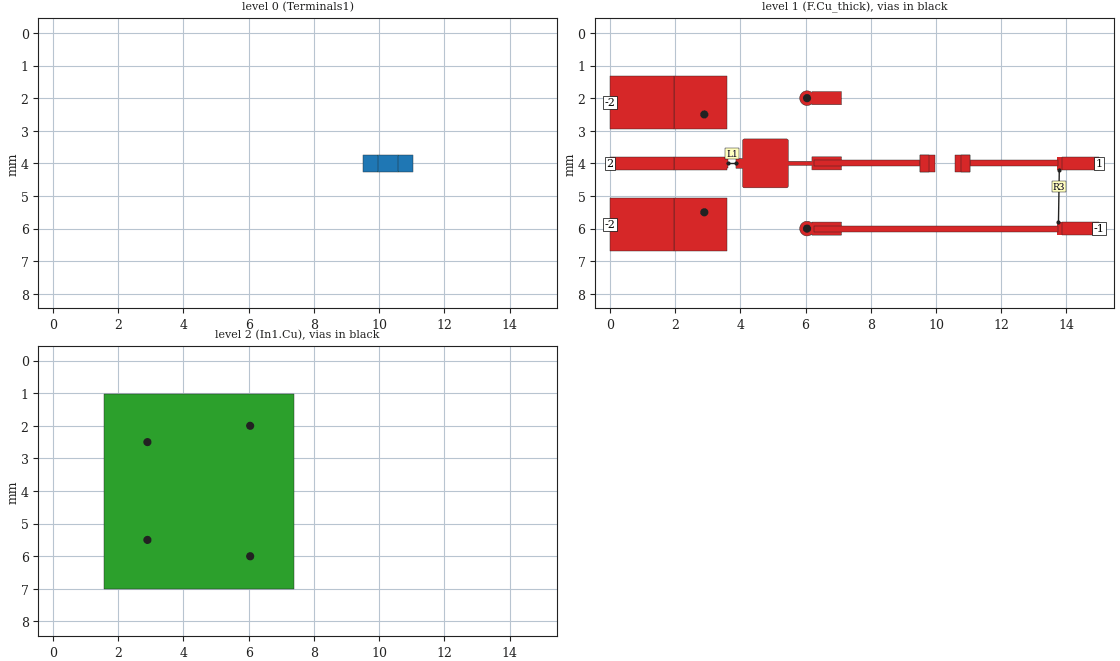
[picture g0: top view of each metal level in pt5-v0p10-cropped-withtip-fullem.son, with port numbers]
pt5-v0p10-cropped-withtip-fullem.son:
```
FTYP SONPROJ 19 ! Sonnet Project File
VER 18.56
HEADER
LIC antikernel2.1.51813
DAT 10/26/2022 15:32:51
BUILT_BY_CREATED xgeom 18.54 09/23/2022 20:17:08
BUILT_BY_SAVED sonnet 18.56
MDATE 10/26/2022 15:32:51
HDATE 10/26/2022 15:32:51
ANN Created by dxfgeo, Sonnet Software Inc.
END HEADER
DIM
ANG DEG
CAP FF
CON /OH
FREQ GHZ
IND PH
LNG MM
RES OH
END DIM
CONTROL
VARSWP
OPTIONS  -dj
SPEED 1
CACHE_ABS 2
Q_ACC N
END CONTROL
GEO
DRP1 LEFT LINK
POLY 407 1
0
DRP1 RIGHT LINK
POLY 450 1
0
TMET "Free Space" 0 FREESPACE 376.7303136 0 0 0
BMET "Free Space" 0 FREESPACE 376.7303136 0 0 0
MET "Copper_1oz+plated_thick_up" 1 TMM 58000000 0.5 0.0432 2
MET "Copper_1oz+plated_thin" 4 NOR 58000000 0.5 0.0432 
MET "Copper_0.5oz_thin" 2 NOR 58000000 0.5 0.0175 
MET "Copper_1oz+plated_thick_down" 3 TMM 58000000 0.5 0.0432 2 CDVY TDWN
MET "Nickel" 1 TVM 7.5e-06 0.175  RSVY
MET "Nickel 0.175mm" 5 TMM 6.99e-08 0.5 0.175 4 RSVY
MET "Tin" 2 TVM 8700000 0.5 
MET "Copper" 4 TMM 58000000 0.5 0.035 2 CDVY TDWN
MET "Solder" 37 TMM 8700000 0.5 0.5 4
MET "Resistor 265" 3 RES 265  0.05
MET "Resistor 375" 6 RES 375  0.035
MET "Copper 35um" 1 VOL 58000000 0.035
BRI "Alumina 99.5" 1 9.8 0.0001 0 
BOX 5 15 8 1200 640 20 0
      10 1 1 0 0 0 0 "Air"
      0.5 1 1 0 0 0 5 "Air"
      0.2021 3.61 1 0.0092 0 0 0 "Isola_FR408HR"
      1.1938 3.61 1 0.0092 0 0 0 "Isola_FR408HR"
      0.2021 3.61 1 0.0092 0 0 0 "Isola_FR408HR"
      10 1 1 0 0 0 0 "Air"
TECHLAY METAL Terminals1 <UNSPECIFIED> -12 0 
0 0 0 N 341 1 1 100 100 0 0 0 Y
END
END
TECHLAY METAL Resistor <UNSPECIFIED> -13 0 
0 0 10 N 345 1 1 100 100 0 0 0 Y
END
END
TECHLAY VIA Via1 L3D0 -7 -65534 CAD Via1 drawing 
VIA POLYGON
1 0 11 N 432 1 1 100 100 0 0 0 Y
TOLEVEL 4 RING NOCOVERS
END
END
TECHLAY METAL F.Cu_thick L1D0 -1 -65534 CAD F.Cu drawing 
1 0 0 N 244 1 1 100 100 0 0 0 Y
END
END
TECHLAY METAL F.Cu_thin <UNSPECIFIED> -2 -65534 CAD F.Cu_thin drawing 
1 0 1 N 254 1 1 100 100 0 0 0 Y
END
END
TECHLAY METAL NickelLeadwire <UNSPECIFIED> -8 0 
1 0 5 N 284 1 1 100 100 0 0 0 Y
END
END
TECHLAY METAL Terminals2 <UNSPECIFIED> -9 0 
1 0 3 N 315 1 1 100 100 0 0 0 Y
END
END
TECHLAY BRICK ResistorBody <UNSPECIFIED> -10 0 
BRI POLY
1 0 1 N 440 1 1 100 100 0 0 0 Y
END
END
TECHLAY METAL Solder <UNSPECIFIED> -11 0 
1 0 8 N 336 1 1 100 100 0 0 0 Y
END
END
TECHLAY METAL In1.Cu L2D0 -3 -65534 CAD In1.Cu drawing 
2 0 2 N 265 1 1 100 100 0 0 0 Y
END
END
TECHLAY METAL In2.Cu <UNSPECIFIED> -4 -65534 CAD In2.Cu drawing 
3 0 2 N 268 1 1 100 100 0 0 0 Y
END
END
TECHLAY METAL B.Cu_thick <UNSPECIFIED> -5 -65534 CAD B.Cu drawing 
4 0 3 N 271 1 1 100 100 0 0 0 Y
END
END
TECHLAY METAL B.Cu_thin <UNSPECIFIED> -6 -65534 CAD B.Cu_thin drawing 
4 0 1 N 273 1 1 100 100 0 0 0 Y
END
END
LORGN 0 8 U 
POR1 BOX
POLY 407 1
2
-2 50 0 0 0 0 2.13 
POR1 BOX
POLY 411 1
2
2 50 0 0 0 0 4 
POR1 BOX
POLY 414 1
2
-2 50 0 0 0 0 5.87 
POR1 BOX
POLY 450 1
2
1 50 0 0 0 15 4 
POR1 BOX
POLY 456 1
2
-1 50 0 0 0 15 6 
SMD 1 "L1"
ID 126
GNDREF AUTO
SBOX 3.6925 3.8075 3.9425 4.0575
PBSHW N
LPOS 3.75 3.9425
TYPE SPARAM 1
SMDP 1 3.865 4 R 3 1 
EXSMDP
GNDREF AUTO
TERMW FEED
END EXSMDP
SMDP 1 3.635 4 L 4 2 
EXSMDP
GNDREF AUTO
TERMW FEED
END EXSMDP
END
SMD 1 "R3"
ID 227
GNDREF AUTO
SBOX 13.435 14.225 4.605 5.395
PBSHW Y
PBOX 13.04 14.62 4.605 5.395
PKG 1.58 0.1 0.1
LPOS 13.83 4.605
TYPE IDEAL RES 50
SMDP 1 13.78 4.21 T 5 1 
EXSMDP
GNDREF AUTO
TERMW CUST 0.1
END EXSMDP
SMDP 1 13.755 5.79 B 6 2 
EXSMDP
GNDREF AUTO
TERMW CUST 0.1
END EXSMDP
END
NUM 30
0 5 0 N 339 1 1 100 100 0 0 0 Y
TLAYNAM Terminals1 INH
9.5 3.75
9.975 3.75
9.975 4.25
9.5 4.25
9.5 3.75
END
0 5 0 N 338 1 1 100 100 0 0 0 Y
TLAYNAM Terminals1 INH
10.575 3.75
11.05 3.75
11.05 4.25
10.575 4.25
10.575 3.75
END
0 5 10 N 343 1 1 100 100 0 0 0 Y
TLAYNAM Resistor INH
9.975 3.75
10.575 3.75
10.575 4.25
9.975 4.25
9.975 3.75
END
VIA POLYGON
1 53 11 N 15 1 1 100 100 0 0 0 Y
TOLEVEL 4 RING NOCOVERS
TLAYNAM Via1 INH
USER_DAT FromImport
6.045 6.125
6.021 6.123
6.009 6.12
5.997 6.115
5.986 6.11
5.976 6.104
5.966 6.097
5.948 6.079
5.941 6.069
5.935 6.059
5.93 6.048
5.925 6.036
5.922 6.024
5.92 6
5.922 5.976
5.925 5.964
5.93 5.952
5.935 5.941
5.941 5.931
5.948 5.921
5.966 5.903
5.976 5.896
5.986 5.89
5.997 5.885
6.009 5.88
6.021 5.877
6.045 5.875
6.069 5.877
6.081 5.88
6.093 5.885
6.104 5.89
6.114 5.896
6.124 5.903
6.142 5.921
6.149 5.931
6.155 5.941
6.16 5.952
6.165 5.964
6.168 5.976
6.17 6
6.168 6.024
6.165 6.036
6.16 6.048
6.155 6.059
6.149 6.069
6.142 6.079
6.124 6.097
6.114 6.104
6.104 6.11
6.093 6.115
6.081 6.12
6.069 6.123
6.045 6.125
END
VIA POLYGON
1 53 11 N 18 1 1 100 100 0 0 0 Y
TOLEVEL 4 RING NOCOVERS
TLAYNAM Via1 INH
USER_DAT FromImport
2.895 5.625
2.871 5.623
2.859 5.62
2.847 5.615
2.836 5.61
2.826 5.604
2.816 5.597
2.798 5.579
2.791 5.569
2.785 5.559
2.78 5.548
2.775 5.536
2.772 5.524
2.77 5.5
2.772 5.476
2.775 5.464
2.78 5.452
2.785 5.441
2.791 5.431
2.798 5.421
2.816 5.403
2.826 5.396
2.836 5.39
2.847 5.385
2.859 5.38
2.871 5.377
2.895 5.375
2.919 5.377
2.931 5.38
2.943 5.385
2.954 5.39
2.964 5.396
2.974 5.403
2.992 5.421
2.999 5.431
3.005 5.441
3.01 5.452
3.015 5.464
3.018 5.476
3.02 5.5
3.018 5.524
3.015 5.536
3.01 5.548
3.005 5.559
2.999 5.569
2.992 5.579
2.974 5.597
2.964 5.604
2.954 5.61
2.943 5.615
2.931 5.62
2.919 5.623
2.895 5.625
END
VIA POLYGON
1 53 11 N 21 1 1 100 100 0 0 0 Y
TOLEVEL 4 RING NOCOVERS
TLAYNAM Via1 INH
USER_DAT FromImport
2.895 2.625
2.871 2.623
2.859 2.62
2.847 2.615
2.836 2.61
2.826 2.604
2.816 2.597
2.798 2.579
2.791 2.569
2.785 2.559
2.78 2.548
2.775 2.536
2.772 2.524
2.77 2.5
2.772 2.476
2.775 2.464
2.78 2.452
2.785 2.441
2.791 2.431
2.798 2.421
2.816 2.403
2.826 2.396
2.836 2.39
2.847 2.385
2.859 2.38
2.871 2.377
2.895 2.375
2.919 2.377
2.931 2.38
2.943 2.385
2.954 2.39
2.964 2.396
2.974 2.403
2.992 2.421
2.999 2.431
3.005 2.441
3.01 2.452
3.015 2.464
3.018 2.476
3.02 2.5
3.018 2.524
3.015 2.536
3.01 2.548
3.005 2.559
2.999 2.569
2.992 2.579
2.974 2.597
2.964 2.604
2.954 2.61
2.943 2.615
2.931 2.62
2.919 2.623
2.895 2.625
END
VIA POLYGON
1 53 11 N 24 1 1 100 100 0 0 0 Y
TOLEVEL 4 RING NOCOVERS
TLAYNAM Via1 INH
USER_DAT FromImport
6.045 2.125
6.021 2.123
6.009 2.12
5.997 2.115
5.986 2.11
5.976 2.104
5.966 2.097
5.948 2.079
5.941 2.069
5.935 2.059
5.93 2.048
5.925 2.036
5.922 2.024
5.92 2
5.922 1.976
5.925 1.964
5.93 1.952
5.935 1.941
5.941 1.931
5.948 1.921
5.966 1.903
5.976 1.896
5.986 1.89
5.997 1.885
6.009 1.88
6.021 1.877
6.045 1.875
6.069 1.877
6.081 1.88
6.093 1.885
6.104 1.89
6.114 1.896
6.124 1.903
6.142 1.921
6.149 1.931
6.155 1.941
6.16 1.952
6.165 1.964
6.168 1.976
6.17 2
6.168 2.024
6.165 2.036
6.16 2.048
6.155 2.059
6.149 2.069
6.142 2.079
6.124 2.097
6.114 2.104
6.104 2.11
6.093 2.115
6.081 2.12
6.069 2.123
6.045 2.125
END
1 5 0 N 105 1 1 100 100 0 0 0 Y
TLAYNAM F.Cu_thick INH
USER_DAT FromImport
3.605 1.31
1.95 1.31
1.95 2.95
3.605 2.95
3.605 1.31
END
1 5 0 N 106 1 1 100 100 0 0 0 Y
TLAYNAM F.Cu_thick INH
USER_DAT FromImport
3.605 5.05
1.95 5.05
1.95 6.69
3.605 6.69
3.605 5.05
END
1 9 0 N 107 1 1 100 100 0 0 0 Y
TLAYNAM F.Cu_thick INH
USER_DAT FromImport
3.605 4.15
3.635 4.15
3.635 3.85
3.605 3.85
3.605 3.8
1.95 3.8
1.95 4.2
3.605 4.2
3.605 4.15
END
1 25 0 N 112 1 1 100 100 0 0 0 Y
TLAYNAM F.Cu_thick INH
USER_DAT FromImport
5.456 4.736
5.47 4.701
5.47 4.063
6.195 4.063
6.195 4.2
7.1 4.2
7.1 3.8
6.195 3.8
6.195 3.937
5.47 3.937
5.47 3.299
5.456 3.264
5.421 3.25
4.119 3.25
4.084 3.264
4.07 3.299
4.07 3.85
3.865 3.85
3.865 4.15
4.07 4.15
4.07 4.701
4.084 4.736
4.119 4.75
5.421 4.75
5.456 4.736
END
1 53 0 N 113 1 1 100 100 0 0 0 Y
TLAYNAM F.Cu_thick INH
USER_DAT FromImport
6.078 6.223
6.1 6.218
6.121 6.212
6.141 6.203
6.161 6.193
6.179 6.181
6.195 6.168
6.195 6.2
7.1 6.2
7.1 5.8
6.195 5.8
6.195 5.832
6.179 5.819
6.161 5.807
6.141 5.797
6.121 5.788
6.1 5.782
6.078 5.777
6.056 5.775
6.034 5.775
6.012 5.777
5.99 5.782
5.969 5.788
5.949 5.797
5.929 5.807
5.911 5.819
5.894 5.833
5.878 5.849
5.864 5.866
5.852 5.884
5.842 5.904
5.833 5.924
5.827 5.945
5.822 5.967
5.82 5.989
5.82 6.011
5.822 6.033
5.827 6.055
5.833 6.076
5.842 6.096
5.852 6.116
5.864 6.134
5.878 6.151
5.894 6.167
5.911 6.181
5.929 6.193
5.949 6.203
5.969 6.212
5.99 6.218
6.012 6.223
6.034 6.225
6.056 6.225
6.078 6.223
END
1 53 0 N 114 1 1 100 100 0 0 0 Y
TLAYNAM F.Cu_thick INH
USER_DAT FromImport
6.078 2.223
6.1 2.218
6.121 2.212
6.141 2.203
6.161 2.193
6.179 2.181
6.195 2.168
6.195 2.2
7.1 2.2
7.1 1.8
6.195 1.8
6.195 1.832
6.179 1.819
6.161 1.807
6.141 1.797
6.121 1.788
6.1 1.782
6.078 1.777
6.056 1.775
6.034 1.775
6.012 1.777
5.99 1.782
5.969 1.788
5.949 1.797
5.929 1.807
5.911 1.819
5.894 1.833
5.878 1.849
5.864 1.866
5.852 1.884
5.842 1.904
5.833 1.924
5.827 1.945
5.822 1.967
5.82 1.989
5.82 2.011
5.822 2.033
5.827 2.055
5.833 2.076
5.842 2.096
5.852 2.116
5.864 2.134
5.878 2.151
5.894 2.167
5.911 2.181
5.929 2.193
5.949 2.203
5.969 2.212
5.99 2.218
6.012 2.223
6.034 2.225
6.056 2.225
6.078 2.223
END
1 5 0 N 204 1 1 100 100 0 0 0 Y
TLAYNAM F.Cu_thick INH
13.7 3.8
13.85 3.8
13.85 4.2
13.7 4.2
13.7 3.8
END
1 5 0 N 205 1 1 100 100 0 0 0 Y
TLAYNAM F.Cu_thick INH
13.7 5.8
13.85 5.8
13.85 6.2
13.7 6.2
13.7 5.8
END
1 5 0 N 407 1 1 100 100 0 0 0 Y
TLAYNAM F.Cu_thick INH
1.95 1.31
1.95 2.95
0 2.95
0 1.31
1.95 1.31
END
1 5 0 N 411 1 1 100 100 0 0 0 Y
TLAYNAM F.Cu_thick INH
1.95 3.8
1.95 4.2
0 4.2
0 3.8
1.95 3.8
END
1 5 0 N 414 1 1 100 100 0 0 0 Y
TLAYNAM F.Cu_thick INH
1.95 5.05
1.95 6.69
0 6.69
0 5.05
1.95 5.05
END
1 5 0 N 450 1 1 100 100 0 0 0 Y
TLAYNAM F.Cu_thick INH
13.85 3.8
13.85 4.2
15 4.2
15 3.8
13.85 3.8
END
1 5 0 N 456 1 1 100 100 0 0 0 Y
TLAYNAM F.Cu_thick INH
13.85 5.8
13.85 6.2
15 6.2
15 5.8
13.85 5.8
END
1 5 5 N 286 1 1 100 100 0 0 0 Y
TLAYNAM NickelLeadwire INH
6.25 5.925
13.75 5.925
13.75 6.1
6.25 6.1
6.25 5.925
END
1 5 5 N 328 1 1 100 100 0 0 0 Y
TLAYNAM NickelLeadwire INH
13.75 3.9
10.775 3.9
10.775 4.075
13.75 4.075
13.75 3.9
END
1 5 5 N 329 1 1 100 100 0 0 0 Y
TLAYNAM NickelLeadwire INH
9.775 3.9
6.25 3.9
6.25 4.075
9.775 4.075
9.775 3.9
END
1 5 3 N 317 1 1 100 100 0 0 0 Y
TLAYNAM Terminals2 INH
9.775 3.75
9.775 3.75
9.775 4.25
9.775 4.25
9.775 3.75
END
1 5 3 N 323 1 1 100 100 0 0 0 Y
TLAYNAM Terminals2 INH
10.575 3.75
11.05 3.75
11.05 4.25
10.575 4.25
10.575 3.75
END
1 5 3 N 447 1 1 100 100 0 0 0 Y
TLAYNAM Terminals2 INH
9.5 3.75
9.975 3.75
9.975 4.25
9.5 4.25
9.5 3.75
END
BRI POLY
1 5 1 N 321 1 1 100 100 0 0 0 Y
TLAYNAM ResistorBody INH
9.775 3.75
10.775 3.75
10.775 4.25
9.775 4.25
9.775 3.75
END
1 5 8 N 322 1 1 100 100 0 0 0 Y
TLAYNAM Solder INH
10.775 3.75
11.05 3.75
11.05 4.25
10.775 4.25
10.775 3.75
END
1 5 8 N 319 1 1 100 100 0 0 0 Y
TLAYNAM Solder INH
9.5 3.75
9.775 3.75
9.775 4.25
9.5 4.25
9.5 3.75
END
2 5 2 N 133 1 1 100 100 0 0 0 Y
TLAYNAM In1.Cu INH
1.55 1.025
7.4 1.025
7.4 7
1.55 7
1.55 1.025
END
END GEO
OPT
MAX 100
END OPT
VARSWP
ENABLED Y
FREQ Y AY ABS_ENTRY 0.1 8.5 -1 300 
END
END VARSWP
3DOPTIONS
GLOBAL 1
ALL 6 1
END 3DOPTIONS
SMDFILES
1 "../../../../../../ceph/bulk/datasheets/Murata/Inductor/LQP03TN2N2B02.s2p"
END SMDFILES
```
